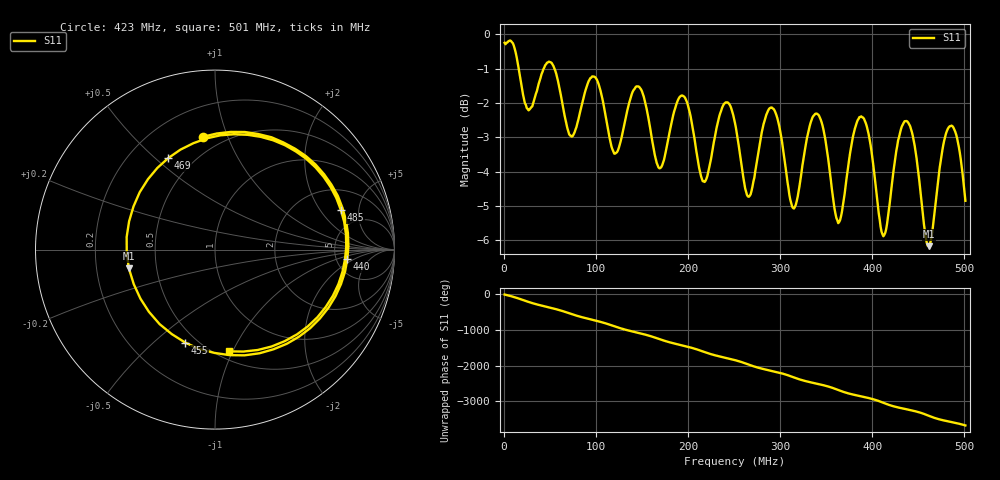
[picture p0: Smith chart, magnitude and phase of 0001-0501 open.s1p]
! NanoVNA-App by SYSJOINT et al v1.1.209 (+OD18)
! Date: 2025-09-17 10:01:50
! Start: 1MHz Stop: 501MHz Points: 501
! S-Parameter data: F S11
# Hz S RI R 50
!  Frequency  S11_Real  S11_Imag
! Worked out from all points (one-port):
!   501 points, 1 MHz to 501 MHz, reference 50 ohm
!   lowest |S11| = -6.2 dB at 461 MHz (marker M1), VSWR 2.93, Z = 17.2 - j4.78 ohm
!   |S11| at or under -10 dB: nowhere
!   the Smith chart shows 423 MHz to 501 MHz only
!   S11 on the Smith chart (normalised r, x): 423 MHz: 0.39, +0.82; 440 MHz: 6.34, -1.43; 455 MHz: 0.43, -0.64; 469 MHz: 0.36, +0.55; 485 MHz: 3.34, +3.20; 501 MHz: 0.57, -0.96
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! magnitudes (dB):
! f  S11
! 1 MHz  -0.2
! 26 MHz  -2.2
! 49 MHz  -0.8
! 64 MHz  -2.1
! 99 MHz  -1.2
! 126 MHz  -3.2
! 146 MHz  -1.5
! 170 MHz  -3.9
! 189 MHz  -1.9
! 217 MHz  -4.3
! 238 MHz  -2.1
! 251 MHz  -2.6
! 266 MHz  -4.7
! 293 MHz  -2.2
! 314 MHz  -5.1
! 337 MHz  -2.4
! 363 MHz  -5.5
! 376 MHz  -3.4
! 392 MHz  -2.5
! 412 MHz  -5.9
! 423 MHz  -4.0
! 439 MHz  -2.6
! 440 MHz  -2.6
! 455 MHz  -5.3
! 461 MHz  -6.2
! 469 MHz  -4.8
! 485 MHz  -2.7
! 501 MHz  -4.9
